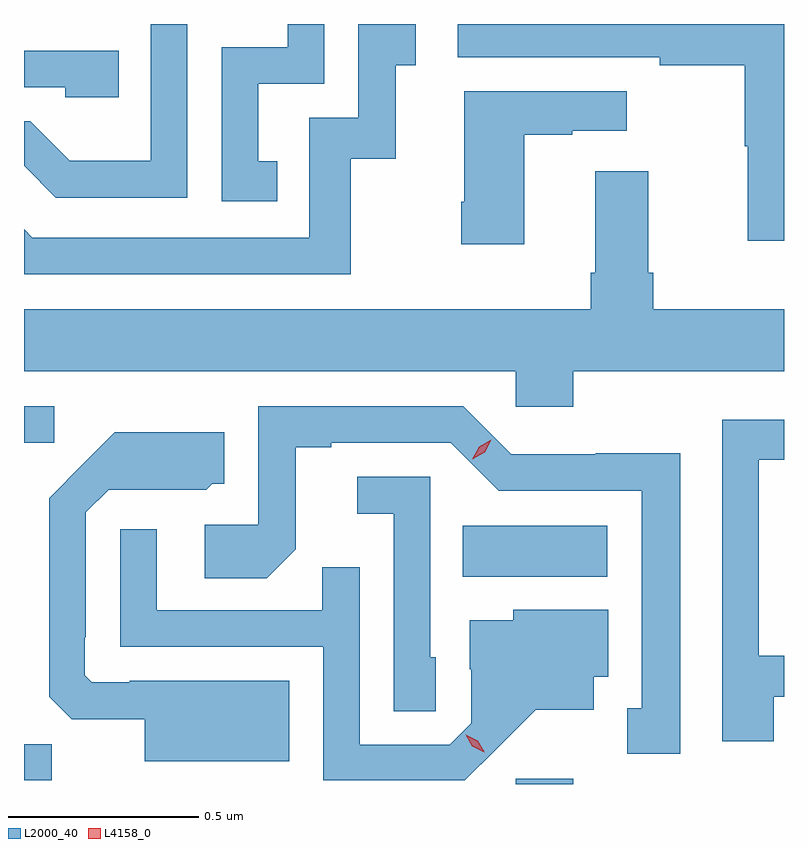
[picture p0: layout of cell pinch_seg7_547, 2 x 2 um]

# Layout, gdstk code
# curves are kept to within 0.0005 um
import gdstk
lib = gdstk.Library(unit=1e-6, precision=1e-09)
def R(c, l, rs):  # rectangles x0, y0, x1, y1
    for r in rs: c.add(gdstk.rectangle(r[:2], r[2:], *l))
def P(c, l, *ps):  # polygons
    for p in ps: c.add(gdstk.Polygon(p, *l))
L2000_40 = (2000, 40)
L4158_0 = (4158, 0)

pinch_seg7_547 = lib.new_cell('pinch_seg7_547')
R(pinch_seg7_547, L2000_40, [(158.154,1060.802,158.306,1060.816), (156.86,1060.812,156.933,1060.907), (158.014,1061.348,158.395,1061.482), (156.86,1061.7,156.94,1061.796)])
P(pinch_seg7_547, L2000_40, [(157.29,1062.802),(157.194,1062.802),(157.194,1062.442),(156.98,1062.442),(156.876,1062.546),(156.86,1062.546),(156.86,1062.429),(156.944,1062.345),(157.29,1062.345)],
  [(158.86,1062.802),(158.001,1062.802),(158.001,1062.714),(158.533,1062.714),(158.533,1062.694),(158.757,1062.694),(158.757,1062.48),(158.764,1062.48),(158.764,1062.231),(158.86,1062.231)],
  [(157.72,1062.447),(157.838,1062.447),(157.838,1062.693),(157.891,1062.693),(157.891,1062.802),(157.74,1062.802),(157.74,1062.555),(157.611,1062.555),(157.611,1062.24),(156.882,1062.24),(156.86,1062.262),(156.86,1062.144),(157.72,1062.144)],
  [(157.526,1062.441),(157.477,1062.441),(157.477,1062.645),(157.65,1062.645),(157.65,1062.802),(157.554,1062.802),(157.554,1062.741),(157.38,1062.741),(157.38,1062.336),(157.526,1062.336)],
  [(157.109,1062.732),(156.86,1062.732),(156.86,1062.636),(156.969,1062.636),(156.969,1062.609),(157.109,1062.609)],
  [(158.176,1062.511),(158.303,1062.511),(158.303,1062.521),(158.446,1062.521),(158.446,1062.625),(158.018,1062.625),(158.018,1062.334),(158.011,1062.334),(158.011,1062.222),(158.176,1062.222)],
  [(158.306,1061.888),(158.86,1061.888),(158.86,1062.052),(158.516,1062.052),(158.516,1062.148),(158.503,1062.148),(158.503,1062.415),(158.363,1062.415),(158.363,1062.148),(158.351,1062.148),(158.351,1062.052),(156.86,1062.052),(156.86,1061.888),(158.154,1061.888),(158.154,1061.795),(158.306,1061.795)],
  [(158.587,1061.672),(158.364,1061.672),(158.364,1061.67),(158.142,1061.67),(158.016,1061.796),(157.476,1061.796),(157.476,1061.484),(157.335,1061.484),(157.335,1061.344),(157.499,1061.344),(157.575,1061.42),(157.575,1061.688),(157.669,1061.688),(157.669,1061.7),(157.983,1061.7),(158.109,1061.574),(158.486,1061.574),(158.486,1061.001),(158.447,1061.001),(158.447,1060.881),(158.587,1060.881)],
  [(158.833,1061.031),(158.86,1061.031),(158.86,1061.139),(158.793,1061.139),(158.793,1061.655),(158.86,1061.655),(158.86,1061.761),(158.697,1061.761),(158.697,1060.914),(158.833,1060.914)],
  [(157.558,1061.074),(157.138,1061.074),(157.138,1061.07),(157.038,1061.07),(157.02,1061.088),(157.02,1061.188),(157.023,1061.188),(157.023,1061.517),(157.083,1061.577),(157.206,1061.577),(157.206,1061.576),(157.34,1061.576),(157.356,1061.592),(157.387,1061.592),(157.387,1061.728),(157.099,1061.728),(156.927,1061.554),(156.927,1061.032),(156.986,1060.973),(157.178,1060.973),(157.178,1060.862),(157.558,1060.862)],
  [(157.944,1061.136),(157.929,1061.136),(157.929,1061.61),(157.737,1061.61),(157.737,1061.513),(157.833,1061.513),(157.833,1060.993),(157.944,1060.993)],
  [(158.104,1060.895),(158.207,1060.997),(158.359,1060.997),(158.359,1061.084),(158.398,1061.084),(158.398,1061.26),(158.148,1061.26),(158.148,1061.233),(158.033,1061.233),(158.033,1061.104),(158.037,1061.104),(158.037,1060.962),(157.98,1060.905),(157.743,1060.905),(157.743,1061.372),(157.645,1061.372),(157.645,1061.259),(157.209,1061.259),(157.209,1061.473),(157.113,1061.473),(157.113,1061.163),(157.647,1061.163),(157.647,1060.812),(158.02,1060.812)])
P(pinch_seg7_547, L4158_0, [(158.04,1061.656),(158.04,1061.656),(158.058,1061.689),(158.09,1061.708),(158.09,1061.708),(158.09,1061.708),(158.072,1061.675),(158.04,1061.656)],
  [(158.071,1060.886),(158.04,1060.902),(158.023,1060.931),(158.023,1060.931),(158.023,1060.931),(158.054,1060.916),(158.071,1060.887),(158.071,1060.886)])

lib.write_gds('pinch_seg7_547.gds')
